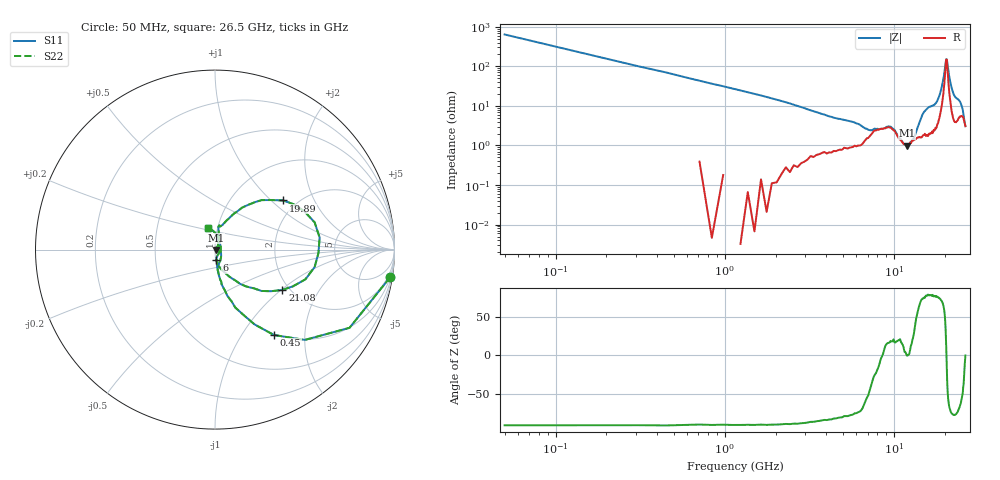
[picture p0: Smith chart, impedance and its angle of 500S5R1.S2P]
!  American Technical Ceramics  Date:  3/6/98
!  One Norden Lane
!  Huntington Station,  NY.  11746-2102
!  Tel:  (516) 547-5700  Fax:  (516) 547-5748
!  Part Number  500S5R1
!  Description: Broadband Microwave capacitor
!  Application:
# GHZ S DB R 50
! Freq  |S11|  S11 Ph  |S21|  S21 Ph  |S12|  S12 Ph  |S22|  S22 Ph
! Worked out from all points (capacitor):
!   201 points, 50 MHz to 26.5 GHz, reference 50 ohm
!   read as one part in series: C = 5.11 pF near 180 MHz
!   lowest |Z| = 984 mohm at 11.95 GHz (marker M1)
!   series resonance near 8.563 GHz, so ESL is about 68 pH
!   S11 on the Smith chart (normalised r, x): 50 MHz: 1, -13; 450 MHz: 0.98, -1.40; 6 GHz: 1.01, -0.12; 19.89 GHz: 1.69, +1.19; 21.08 GHz: 1.83, -1.02; 26.5 GHz: 0.90, +0.21
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0.05  -0.11 -9.0  -16.21 81.5  -16.21 81.5  -0.11 -9.0
0.18  -1.24 -30.2  -6.00 60.2  -6.00 60.2  -1.24 -30.2
0.45  -4.77 -55.5  -1.70 35.3  -1.70 35.3  -4.77 -55.5
0.84  -9.33 -70.8  -0.59 20.0  -0.59 20.0  -9.33 -70.8
2.17  -17.48 -81.5  -0.09 7.4  -0.09 7.4  -17.48 -81.5
4.55  -24.14 -81.6  -0.08 2.0  -0.08 2.0  -24.14 -81.6
6  -24.76 -82.6  -0.12 0.7  -0.12 0.7  -24.76 -82.6
8.91  -30.89 20.3  -0.23 -0.1  -0.23 -0.1  -30.89 20.3
9.97  -30.68 43.6  -0.23 0.2  -0.23 0.2  -30.68 43.6
11.03  -37.10 56.7  -0.17 0.2  -0.17 0.2  -37.10 56.7
11.56  -44.68 28.7  -0.14 0.1  -0.14 0.1  -44.68 28.7
11.95  -44.33 -18.5  -0.12 -0.1  -0.12 -0.1  -44.33 -18.5
13.28  -35.99 27.9  -0.12 -0.7  -0.12 -0.7  -35.99 27.9
15.13  -20.14 78.0  -0.21 -2.1  -0.21 -2.1  -20.14 78.0
17.77  -17.30 75.5  -0.34 -5.0  -0.34 -5.0  -17.30 75.5
19.23  -11.12 57.2  -1.17 -14.0  -1.17 -14.0  -11.12 57.2
19.89  -6.62 36.0  -3.38 -21.9  -3.38 -21.9  -6.62 36.0
20.55  -4.78 -1.9  -8.22 10.7  -8.22 10.7  -4.78 -1.9
21.08  -7.18 -30.9  -3.51 29.2  -3.51 29.2  -7.18 -30.9
22.14  -15.72 -63.1  -1.00 17.7  -1.00 17.7  -15.72 -63.1
25.05  -29.84 4.2  -0.67 10.3  -0.67 10.3  -29.84 4.2
26.5  -18.07 109.3  -0.85 7.5  -0.85 7.5  -18.07 109.3
